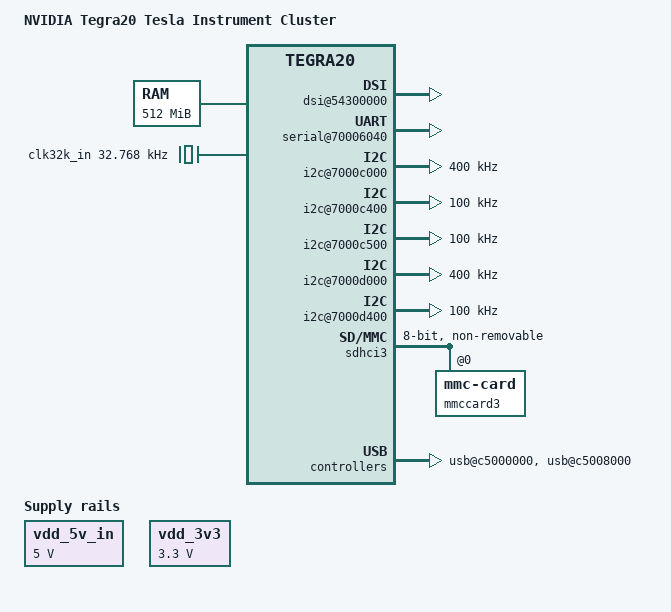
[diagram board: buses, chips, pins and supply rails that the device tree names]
/dts-v1/;

#include <dt-bindings/input/input.h>
#include "tegra20.dtsi"
#include "tegra20-platformdevice-compat.dtsi"

/ {
	model = "NVIDIA Tegra20 Tesla Instrument Cluster";
	compatible = "tsla,instrumentcluster", "nvidia,tegra20";

	chosen {
		/* we only boot from ramfs at first */
		bootargs = "console=ttyS0,115200n8 earlyprintk root=/dev/ram rdinit=/sbin/init-stage-0.sh";
	};

	aliases {
		mmc3 = &sdhci3;
		mmcblock3 = &mmccard3;
	};

	memory {
		reg = <0x00000000 0x10000000>,
			<0x20000000 0x10000000>;
	};

        reserved-memory {
                #size-cells = <1>;
                #address-cells = <1>;
                ranges;

                /* think this is 256MiB of memory for graphics */
                gfx_mem: reserved_memory@10C00000 {
                        compatible = "tesla,nvidia-graphics-carveout";
                        reg = < 0x10C00000 0x10000000 >;
                        no-map;
                };
                /* large MiB reservation for the framebuffer */
                /* 2.6 has 8MiB region reserved, but never uses this as it
                 * does not use any of the fb memory functions */
                fb_mem: reserved_memory@10012000 {
                        compatible = "tesla,nvidia-fb-carveout";
                        reg = < 0x10012000 0x900000>;
                        no-map;
                };
	};

	/* updated pl310 settings */
	cache-controller@50043000 {
		arm,filter-ranges = < 0x00000000 0x3fffffff >;
	};

	host1x@50000000 {
		ranges = <0x50000000 0x50000000 0x08000000>;

		gfx-mem = <&gfx_mem>;
		fb-mem = <&fb_mem>;

		syncptirq@50003000 {
			compatible = "nvidia,tegra20-syncpt-irq";
			reg = <0x50003000 0x100>;
			interrupt-parent = <&lic>;
			interrupts = <GIC_SPI 65 IRQ_TYPE_LEVEL_HIGH>;
			interrupt-controller;
			#interrupt-cells = <1>;
		};

		dsi@54300000 {
			status = "okay";
		};
	};

	nor@70009000 {
		status = "okay";
		ranges = <0 0 0xd0000000 0x10000000>;
		nvidia,cs-timing = <0xA0200253 0x00040406>;

		/* Cypress S29GL512 NOR 64 MiB */
		flash@0,0 {
			compatible = "amd,s29gl512n", "cfi-flash";
			reg = <0 0 0x8000000>;
			linux,mtd-name = "tegra-nor";
			bank-width = <2>;
			device-width = <2>;
			#address-cells = <1>;
			#size-cells = <1>;
		};
	};

	pinmux@70000014 {
		pinctrl-names = "default";
		pinctrl-0 = <&state_default>;

		state_default: pinmux {
			/* Pad Group controls */
			drive_cdev1 {
				nvidia,pins = "drive_cdev1";
				nvidia,high-speed-mode = <0>;
				nvidia,schmitt = <1>;
				nvidia,low-power-mode = <3>;
				nvidia,pull-down-strength = <31>;
				nvidia,pull-up-strength = <31>;
				nvidia,slew-rate-rising = <3>;
				nvidia,slew-rate-falling = <3>;
			};
			drive_cdev2 {
				nvidia,pins = "drive_cdev2";
				nvidia,high-speed-mode = <0>;
				nvidia,schmitt = <1>;
				nvidia,low-power-mode = <3>;
				nvidia,pull-down-strength = <31>;
				nvidia,pull-up-strength = <31>;
				nvidia,slew-rate-rising = <3>;
				nvidia,slew-rate-falling = <3>;
			};
			drive_dap1 {
				nvidia,pins = "drive_dap1";
				nvidia,high-speed-mode = <0>;
				nvidia,schmitt = <1>;
				nvidia,low-power-mode = <3>;
				nvidia,pull-down-strength = <3>;
				nvidia,pull-up-strength = <3>;
				nvidia,slew-rate-rising = <3>;
				nvidia,slew-rate-falling = <3>;
			};
			drive_dap2 {
				nvidia,pins = "drive_dap2";
				nvidia,high-speed-mode = <0>;
				nvidia,schmitt = <1>;
				nvidia,low-power-mode = <3>;
				nvidia,pull-down-strength = <3>;
				nvidia,pull-up-strength = <3>;
				nvidia,slew-rate-rising = <3>;
				nvidia,slew-rate-falling = <3>;
			};
			drive_dap3 {
				nvidia,pins = "drive_dap3";
				nvidia,high-speed-mode = <0>;
				nvidia,schmitt = <1>;
				nvidia,low-power-mode = <3>;
				nvidia,pull-down-strength = <3>;
				nvidia,pull-up-strength = <3>;
				nvidia,slew-rate-rising = <3>;
				nvidia,slew-rate-falling = <3>;
			};
			drive_dbg {
				nvidia,pins = "drive_dbg";
				nvidia,high-speed-mode = <0>;
				nvidia,schmitt = <1>;
				nvidia,low-power-mode = <3>;
				nvidia,pull-down-strength = <31>;
				nvidia,pull-up-strength = <31>;
				nvidia,slew-rate-rising = <3>;
				nvidia,slew-rate-falling = <3>;
			};
/*
			drive_ddc {
				nvidia,pins = "ddc";
				nvidia,high-speed-mode = <0>;
				nvidia,schmitt = <1>;
				nvidia,low-power-mode = <3>;
				nvidia,pull-down-strength = <31>;
				nvidia,pull-up-strength = <31>;
				nvidia,slew-rate-rising = <3>;
				nvidia,slew-rate-falling = <3>;
			};
			drive_sdio1 {
				nvidia,pins = "sdio1";
				nvidia,high-speed-mode = <0>;
				nvidia,schmitt = <1>;
				nvidia,low-power-mode = <3>;
				nvidia,pull-down-strength = <31>;
				nvidia,pull-up-strength = <31>;
				nvidia,slew-rate-rising = <3>;
				nvidia,slew-rate-falling = <3>;
			};
*/
			drive_spi {
				nvidia,pins = "drive_spi";
				nvidia,high-speed-mode = <0>;
				nvidia,schmitt = <0>;
				nvidia,low-power-mode = <3>;
				nvidia,pull-down-strength = <18>;
				nvidia,pull-up-strength = <22>;
				nvidia,slew-rate-rising = <3>;
				nvidia,slew-rate-falling = <3>;
			};
			drive_vi1 {
				nvidia,pins = "drive_vi1";
				nvidia,high-speed-mode = <0>;
				nvidia,schmitt = <1>;
				nvidia,low-power-mode = <3>;
				nvidia,pull-down-strength = <31>;
				nvidia,pull-up-strength = <31>;
				nvidia,slew-rate-rising = <3>;
				nvidia,slew-rate-falling = <3>;
			};
			drive_vi2 {
				nvidia,pins = "drive_vi2";
				nvidia,high-speed-mode = <0>;
				nvidia,schmitt = <1>;
				nvidia,low-power-mode = <3>;
				nvidia,pull-down-strength = <31>;
				nvidia,pull-up-strength = <31>;
				nvidia,slew-rate-rising = <3>;
				nvidia,slew-rate-falling = <3>;
			};
			/* DISPLAY-A pinmux */
			display-grp1 {
                                nvidia,pins = "lsc0",
						"lhs",
						"lspi",
						"lvs",
						"lm1",
						"ld1",
						"ld2",
						"ld3",
						"ld4",
						"ld5",
						"ld6",
						"ld7",
						"ld8",
						"ld9",
						"ld10",
						"ld11",
						"ld12",
						"ld13",
						"ld14",
						"ld15",
						"ld16",
						"ld17",
						"lhp1",
						"lhp2",
						"lvp1",
						"lhp0",
						"ldi",
						"lpp",
						"ld0",
						"lpw0";
                                nvidia,function = "displaya";
                                nvidia,tristate = <0>;
			};

			display-grp2 {
                                nvidia,pins = "lsc1",
						"lvp0",
						"lm0",
						"ldc",
						"lpw2",
						"lpw1";
                                nvidia,function = "displaya";
                                nvidia,tristate = <1>;
			};

			/* NOR pinmux */
			irrx {
                                nvidia,pins = "irrx";
                                nvidia,function = "gmi";
                                nvidia,pull = <0>;
                                nvidia,tristate = <0>;
			};

			irtx {
                                nvidia,pins = "irtx";
                                nvidia,function = "gmi";
                                nvidia,pull = <0>;
                                nvidia,tristate = <0>;
			};

			uca {
                                nvidia,pins = "uca";
                                nvidia,function = "gmi";
                                nvidia,pull = <0>;
                                nvidia,tristate = <0>;
			};

			ucb {
                                nvidia,pins = "ucb";
                                nvidia,function = "gmi";
                                nvidia,pull = <0>;
                                nvidia,tristate = <0>;
			};

			gpu {
                                nvidia,pins = "gpu";
                                nvidia,function = "gmi";
                                nvidia,pull = <0>;
                                nvidia,tristate = <0>;
			};

			dap2 {
                                nvidia,pins = "dap2";
                                nvidia,function = "gmi";
                                nvidia,pull = <0>;
                                nvidia,tristate = <0>;
			};

			spid {
                                nvidia,pins = "spid";
                                nvidia,function = "gmi";
                                nvidia,pull = <0>;
                                nvidia,tristate = <0>;
			};

			spie {
                                nvidia,pins = "spie";
                                nvidia,function = "gmi";
                                nvidia,pull = <0>;
                                nvidia,tristate = <0>;
			};

			atc {
                                nvidia,pins = "atc";
                                nvidia,function = "gmi";
                                nvidia,pull = <0>;
                                nvidia,tristate = <0>;
			};

			ata {
                                nvidia,pins = "ata";
                                nvidia,function = "gmi";
                                nvidia,pull = <0>;
                                nvidia,tristate = <0>;
			};

			gmb {
                                nvidia,pins = "gmb";
                                nvidia,function = "gmi";
                                nvidia,pull = <0>;
                                nvidia,tristate = <0>;
			};

			dap4 {
                                nvidia,pins = "dap4";
                                nvidia,function = "gmi";
                                nvidia,pull = <0>;
                                nvidia,tristate = <0>;
			};

			spia {
                                nvidia,pins = "spia";
                                nvidia,function = "gmi";
                                nvidia,pull = <0>;
                                nvidia,tristate = <0>;
			};

			spib {
                                nvidia,pins = "spib";
                                nvidia,function = "gmi";
                                nvidia,pull = <0>;
                                nvidia,tristate = <0>;
			};

			spic {
                                nvidia,pins = "spic";
                                nvidia,function = "gmi";
                                nvidia,pull = <0>;
                                nvidia,tristate = <0>;
			};

			atd {
                                nvidia,pins = "atd";
                                nvidia,function = "gmi";
                                nvidia,pull = <0>;
                                nvidia,tristate = <0>;
			};

			ate {
                                nvidia,pins = "ate";
                                nvidia,function = "gmi";
                                nvidia,pull = <0>;
                                nvidia,tristate = <0>;
			};

			dap3 {
                                nvidia,pins = "dap3";
                                nvidia,function = "dap3";
                                nvidia,pull = <1>;
                                nvidia,tristate = <0>;
			};

			/* I2C1 pinmux */
			rm {
                                nvidia,pins = "rm";
                                nvidia,function = "i2c1";
                                nvidia,pull = <2>;
                                nvidia,tristate = <0>;
			};

			/* I2C2 pinmux */
			ddc {
                                nvidia,pins = "ddc";
                                nvidia,function = "i2c2";
                                nvidia,pull = <2>;
                                nvidia,tristate = <0>;
			};

			/* I2C3 pinmux */
			dtf {
                                nvidia,pins = "dtf";
                                nvidia,function = "i2c3";
                                nvidia,pull = <2>;
                                nvidia,tristate = <0>;
			};

			/* KBC pinmux */
			kbcc {
                                nvidia,pins = "kbcc";
                                nvidia,function = "kbc";
                                nvidia,pull = <2>;
                                nvidia,tristate = <0>;
			};

			kbcf {
                                nvidia,pins = "kbcf";
                                nvidia,function = "kbc";
                                nvidia,pull = <2>;
                                nvidia,tristate = <1>;
			};

			kbce {
                                nvidia,pins = "kbce";
                                nvidia,function = "kbc";
                                nvidia,pull = <2>;
                                nvidia,tristate = <1>;
			};

			/* PLL pinmux */
			cdev1 {
                                nvidia,pins = "cdev1";
                                nvidia,function = "plla_out";
                                nvidia,pull = <0>;
                                nvidia,tristate = <0>;
			};

			cdev2 {
                                nvidia,pins = "cdev2";
                                nvidia,function = "pllp_out4";
                                nvidia,pull = <1>;
                                nvidia,tristate = <1>;
			};

			/* SDIO1 pinmux */
			sdio1 {
                                nvidia,pins = "sdio1";
                                nvidia,function = "sdio1";
                                nvidia,pull = <2>;
                                nvidia,tristate = <0>;
			};

			/* SDIO2 pinmux */
			kbca {
                                nvidia,pins = "kbca";
                                nvidia,function = "sdio2";
                                nvidia,pull = <1>;
                                nvidia,tristate = <0>;
			};
			kbcd {
                                nvidia,pins = "kbcd";
                                nvidia,function = "sdio2";
                                nvidia,pull = <1>;
                                nvidia,tristate = <0>;
			};
			kbcb {
                                nvidia,pins = "kbcb";
                                nvidia,function = "sdio2";
                                nvidia,pull = <1>;
                                nvidia,tristate = <0>;
			};

			/* SDIO3 pinmux */
			sdd {
                                nvidia,pins = "sdd";
                                nvidia,function = "sdio3";
                                nvidia,pull = <2>;
                                nvidia,tristate = <0>;
			};
			sdc {
                                nvidia,pins = "sdc";
                                nvidia,function = "sdio3";
                                nvidia,pull = <2>;
                                nvidia,tristate = <0>;
			};
			sdb {
                                nvidia,pins = "sdb";
                                nvidia,function = "sdio3";
                                nvidia,tristate = <1>;
			};

			/* SDIO4 pinmux */
			atb {
                                nvidia,pins = "atb";
                                nvidia,function = "sdio4";
                                nvidia,pull = <2>;
                                nvidia,tristate = <0>;
			};
			gma {
                                nvidia,pins = "gma";
                                nvidia,function = "sdio4";
                                nvidia,pull = <0>;
                                nvidia,tristate = <0>;
			};
			gme {
                                nvidia,pins = "gme";
                                nvidia,function = "sdio4";
                                nvidia,pull = <0>;
                                nvidia,tristate = <0>;
			};

			/* SPDIF pinmux */
			spdi {
                                nvidia,pins = "spdi";
                                nvidia,function = "spdif";
                                nvidia,pull = <2>;
                                nvidia,tristate = <0>;
			};

			/* SPI1 pinmux */
			dtb {
                                nvidia,pins = "dtb";
                                nvidia,function = "spi1";
                                nvidia,pull = <1>;
                                nvidia,tristate = <0>;
			};
			dte {
                                nvidia,pins = "dte";
                                nvidia,function = "spi1";
                                nvidia,pull = <2>;
                                nvidia,tristate = <0>;
			};

			/* SPI2 pinmux */
			spif {
                                nvidia,pins = "spif";
                                nvidia,function = "spi2";
                                nvidia,pull = <1>;
                                nvidia,tristate = <0>;
			};
			spig {
                                nvidia,pins = "spig";
                                nvidia,function = "spi2_alt";
                                nvidia,pull = <2>;
                                nvidia,tristate = <0>;
			};
			spih {
                                nvidia,pins = "spih";
                                nvidia,function = "spi2_alt";
                                nvidia,pull = <2>;
                                nvidia,tristate = <0>;
			};

			/* SPI3 pinmux */
			lsdi {
                                nvidia,pins = "lsdi";
                                nvidia,function = "spi3";
                                nvidia,tristate = <1>;
			};
			lsda {
                                nvidia,pins = "lsda";
                                nvidia,function = "spi3";
                                nvidia,tristate = <1>;
			};
			lcsn {
                                nvidia,pins = "lcsn";
                                nvidia,function = "spi3";
                                nvidia,tristate = <1>;
			};
			lsck {
                                nvidia,pins = "lsck";
                                nvidia,function = "spi3";
                                nvidia,tristate = <1>;
			};

			/* SPI4 pinmux */
			gmc {
                                nvidia,pins = "gmc";
                                nvidia,function = "uartd";
                                nvidia,pull = <0>;
                                nvidia,tristate = <0>;
			};

			slxa {
                                nvidia,pins = "slxa";
                                nvidia,function = "pcie";
                                nvidia,pull = <0>;
                                nvidia,tristate = <1>;
			};

			slxk {
                                nvidia,pins = "slxk";
                                nvidia,function = "pcie";
                                nvidia,pull = <0>;
                                nvidia,tristate = <0>;
			};

			slxc {
                                nvidia,pins = "slxc";
                                nvidia,function = "spi4";
                                nvidia,pull = <0>;
                                nvidia,tristate = <0>;
			};

			slxd {
                                nvidia,pins = "slxd";
                                nvidia,function = "spdif";
                                nvidia,pull = <0>;
                                nvidia,tristate = <0>;
			};
#if 0
			/* UARTB pinmux */
			irrx {
                                nvidia,pins = "irrx";
                                nvidia,function = "uartb";
                                nvidia,pull = <2>;
                                nvidia,tristate = <0>;
			};

			irtx {
                                nvidia,pins = "irtx";
                                nvidia,function = "uartb";
                                nvidia,pull = <2>;
                                nvidia,tristate = <0>;
			};
#endif
			/* ULPI pinmux */
			uaa {
                                nvidia,pins = "uaa";
                                nvidia,function = "ulpi";
                                nvidia,pull = <0>;
                                nvidia,tristate = <0>;
			};

			uab {
                                nvidia,pins = "uab";
                                nvidia,function = "ulpi";
                                nvidia,pull = <0>;
                                nvidia,tristate = <0>;
			};

			uda {
                                nvidia,pins = "uda";
                                nvidia,function = "ulpi";
                                nvidia,pull = <0>;
                                nvidia,tristate = <0>;
			};

			/* VI pinmux */
			dta {
                                nvidia,pins = "dta";
                                nvidia,function = "vi";
                                nvidia,pull = <1>;
                                nvidia,tristate = <0>;
			};
			dtc {
                                nvidia,pins = "dtc";
                                nvidia,function = "vi";
                                nvidia,pull = <0>;
                                nvidia,tristate = <0>;
			};
			dtd {
                                nvidia,pins = "dtd";
                                nvidia,function = "vi";
                                nvidia,pull = <1>;
                                nvidia,tristate = <0>;
			};
			csus {
                                nvidia,pins = "csus";
                                nvidia,function = "vi_sensor_clk";
                                nvidia,pull = <1>;
                                nvidia,tristate = <0>;
			};

			/* OTHER pinmux */
			ck32 {
                                nvidia,pins = "ck32";
                                nvidia,pull = <0>;
			};

			crtp {
                                nvidia,pins = "crtp";
                                nvidia,function = "crt";
                                nvidia,pull = <2>;
                                nvidia,tristate = <1>;
			};

			dap1 {
                                nvidia,pins = "dap1";
                                nvidia,function = "dap1";
                                nvidia,pull = <1>;
                                nvidia,tristate = <1>;
			};

			ddrc {
                                nvidia,pins = "ddrc";
                                nvidia,pull = <0>;
			};

			gmd {
                                nvidia,pins = "gmd";
                                nvidia,function = "gmi";
                                nvidia,pull = <0>;
                                nvidia,tristate = <0>;
			};

			gpu7 {
                                nvidia,pins = "gpu7";
                                nvidia,function = "rtck";
                                nvidia,pull = <2>;
                                nvidia,tristate = <0>;
			};

			gpv {
                                nvidia,pins = "gpv";
                                nvidia,function = "pcie";
                                nvidia,pull = <0>;
                                nvidia,tristate = <0>;
			};

			hdint {
                                nvidia,pins = "hdint";
                                nvidia,function = "hdmi";
                                nvidia,tristate = <0>;
			};

			owc {
                                nvidia,pins = "owc";
                                nvidia,function = "rsvd2";
                                nvidia,pull = <2>;
                                nvidia,tristate = <1>;
			};

			pmc {
                                nvidia,pins = "pmc";
                                nvidia,function = "pwr_on";
                                nvidia,tristate = <0>;
			};

			pmca {
                                nvidia,pins = "pmca";
                                nvidia,pull = <0>;
			};

			pmcb {
                                nvidia,pins = "pmcb";
                                nvidia,pull = <0>;
			};

			pmcc {
                                nvidia,pins = "pmcc";
                                nvidia,pull = <0>;
			};

			pmcd {
                                nvidia,pins = "pmcd";
                                nvidia,pull = <0>;
			};

			pmce {
                                nvidia,pins = "pmce";
                                nvidia,pull = <0>;
			};

			pta {
                                nvidia,pins = "pta";
                                nvidia,function = "hdmi";
                                nvidia,pull = <0>;
                                nvidia,tristate = <0>;
			};

			spdo {
                                nvidia,pins = "spdo";
                                nvidia,function = "rsvd2";
                                nvidia,pull = <0>;
                                nvidia,tristate = <1>;
			};

			uac {
                                nvidia,pins = "uac";
                                nvidia,function = "owr";
                                nvidia,pull = <0>;
                                nvidia,tristate = <0>;
			};

			uad {
                                nvidia,pins = "uad";
                                nvidia,function = "irda";
                                nvidia,pull = <2>;
                                nvidia,tristate = <0>;
			};


			xm2d {
                                nvidia,pins = "xm2d";
                                nvidia,pull = <0>;
			};

			xm2c {
                                nvidia,pins = "xm2c";
                                nvidia,pull = <0>;
			};

		};
	};

	serial@70006040 {
		status = "okay";
	};

	clocks {
		compatible = "simple-bus";
		#address-cells = <1>;
		#size-cells = <0>;

		clk32k_in: clock@0 {
			compatible = "fixed-clock";
			reg=<0>;
			#clock-cells = <0>;
			clock-frequency = <32768>;
		};
	};

	gpios {
		compatible = "gpios,gpio-of";

		w1 {
			gpios = <&gpio TEGRA_GPIO(W, 1) GPIO_ACTIVE_HIGH >;
			gpio,set-out = <1>;	/* note, 0 on genric sku */
		};
		b2 {
			gpios = <&gpio TEGRA_GPIO(B, 2) GPIO_ACTIVE_HIGH >;
			gpio,set-out = <1>;	/* note, 0 on genric sku */
		};
		/* enable the onboard network mux */
		/* note, may need to go into a specific reset driver for seq */
		eth_mux {
			gpios = <&gpio TEGRA_GPIO(S, 3) GPIO_ACTIVE_HIGH >;
			gpio,set-out = <1>;
		};
		eth_reset {
			gpios = <&gpio TEGRA_GPIO(D, 3) GPIO_ACTIVE_HIGH >;
			gpio,set-out = <1>;
		};
		therm_alert { /* 28 */
			gpios = <&gpio TEGRA_GPIO(D, 4) GPIO_ACTIVE_HIGH>;
			gpio,set-input;
		};
		therm_shutdown { /* 136 */
			gpios = <&gpio TEGRA_GPIO(R, 0) GPIO_ACTIVE_HIGH>;
			gpio,set-out = <1>;
		};
		ulpi_phy_reset_b { /* 69 */
			gpios = <&gpio TEGRA_GPIO(I, 5) GPIO_ACTIVE_HIGH>;
			gpio,set-out = <1>;
		};
	};

	avp {
		compatible = "nvidia,tegra20-avp";
		interrupts = <GIC_SPI 4 IRQ_TYPE_LEVEL_HIGH>,
			     <GIC_SPI 5 IRQ_TYPE_LEVEL_HIGH>,
			     <GIC_SPI 6 IRQ_TYPE_LEVEL_HIGH>,
			     <GIC_SPI 7 IRQ_TYPE_LEVEL_HIGH>;
		clocks = <&tegra_car TEGRA20_CLK_VDE>,
		         <&tegra_car TEGRA20_CLK_BSEV>;
		clock-names = "vde", "bsev";
		resets = <&tegra_car 1>, <&tegra_car 61>, <&tegra_car 63>;
		reset-names = "cop", "vde", "bsev";
	};

        i2c@7000c000 {
		status = "okay";
		clock-frequency = <400000>;
	};

        i2c@7000c400 {
		status = "okay";
		clock-frequency = <100000>;
	};

        i2c@7000c500 {
		status = "okay";
		clock-frequency = <100000>;
	};

        i2c@7000d000 {
		status = "okay";
		clock-frequency = <400000>;
	};

        i2c@7000d400 {
		status = "okay";
		clock-frequency = <100000>;
	};
	
        sdhci3: sdhci@c8000600 {
		status = "okay";
		bus-width = <8>;
		non-removable;

		mmccard3: mmc-card@0 {
			reg = <0>;
			compatible = "mmc-card";
		};
        };

	/* fixed supply reguators */
	vdd_5v_in: regulator@100 {
		compatible = "regulator-fixed";
		regulator-name = "vdd_5v_in";
		regulator-min-microvolt = <5000000>;
		regulator-max-microvolt = <5000000>;
		regulator-always-on;
	};

	vdd_3v3: regulator@101 {
		compatible = "regulator-fixed";
		regulator-name = "vdd_3v3";
		regulator-min-microvolt = <3300000>;
		regulator-max-microvolt = <3300000>;
		regulator-always-on;
	};

	/* usb3 is used for usb-ethernet (smsc)
	 * usb2 is not used (note, external ulpi phy)
	 * usb1 is used for recovery mode
	 */
	usb@c5000000 {
		status = "okay";
	};

	usb-phy@c5000000 {
		status = "okay";
		vbus-supply = <&vdd_3v3>;
	};

	usb@c5008000 {
		#address-cells = <1>;
		#size-cells = <0>;
		status = "okay";
	};

	usb-phy@c5008000 {
		status = "okay";
		vbus-supply = <&vdd_3v3>;
	};
};
